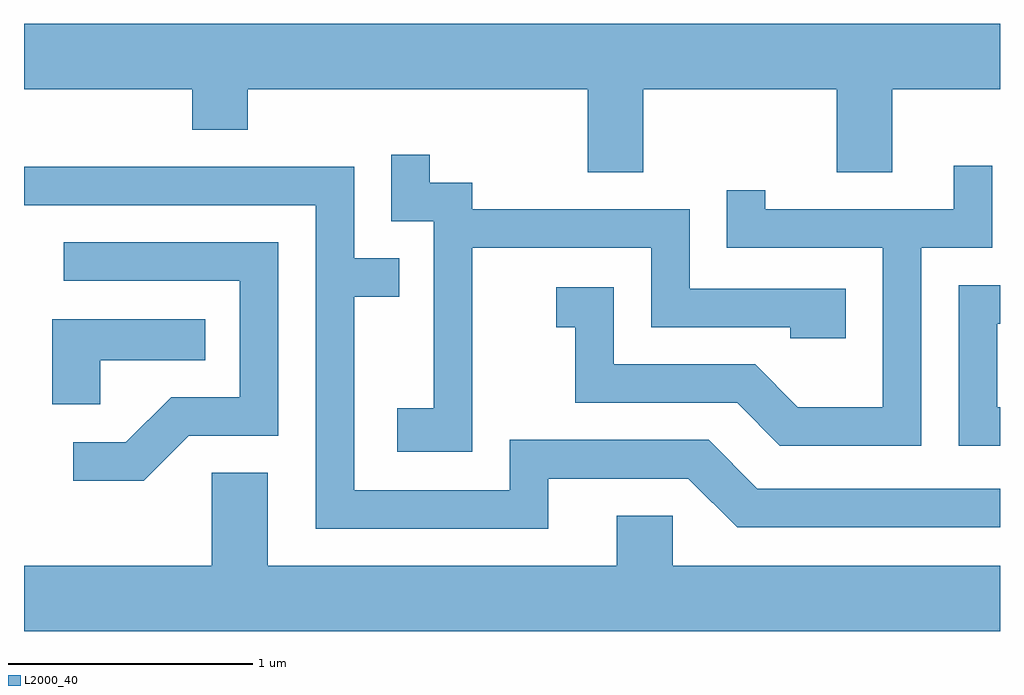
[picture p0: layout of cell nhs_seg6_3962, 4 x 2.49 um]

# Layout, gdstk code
import gdstk
lib = gdstk.Library(unit=1e-6, precision=1e-09)
def P(c, l, *ps):  # polygons
    for p in ps: c.add(gdstk.Polygon(p, *l))
L2000_40 = (2000, 40)

nhs_seg6_3962 = lib.new_cell('nhs_seg6_3962')
P(nhs_seg6_3962, L2000_40, [(306.149,1656.596),(306.941,1656.596),(306.941,1656.256),(307.169,1656.256),(307.169,1656.596),(307.611,1656.596),(307.611,1656.864),(303.611,1656.864),(303.611,1656.596),(304.301,1656.596),(304.301,1656.431),(304.529,1656.431),(304.529,1656.596),(305.921,1656.596),(305.921,1656.256),(306.149,1656.256)],
  [(305.449,1655.946),(306.181,1655.946),(306.181,1655.621),(306.751,1655.621),(306.751,1655.576),(306.979,1655.576),(306.979,1655.779),(306.339,1655.779),(306.339,1656.104),(305.449,1656.104),(305.449,1656.214),(305.274,1656.214),(305.274,1656.328),(305.116,1656.328),(305.116,1656.056),(305.291,1656.056),(305.291,1655.289),(305.141,1655.289),(305.141,1655.111),(305.449,1655.111)],
  [(307.289,1655.946),(307.579,1655.946),(307.579,1656.283),(307.421,1656.283),(307.421,1656.104),(306.649,1656.104),(306.649,1656.183),(306.491,1656.183),(306.491,1655.946),(307.131,1655.946),(307.131,1655.294),(306.782,1655.294),(306.607,1655.469),(306.029,1655.469),(306.029,1655.784),(305.793,1655.784),(305.793,1655.621),(305.871,1655.621),(305.871,1655.311),(306.534,1655.311),(306.709,1655.136),(307.289,1655.136)],
  [(305.759,1655.001),(306.334,1655.001),(306.534,1654.801),(307.611,1654.801),(307.611,1654.959),(306.617,1654.959),(306.417,1655.159),(305.601,1655.159),(305.601,1654.954),(304.964,1654.954),(304.964,1655.746),(305.148,1655.746),(305.148,1655.904),(304.964,1655.904),(304.964,1656.279),(303.611,1656.279),(303.611,1656.121),(304.806,1656.121),(304.806,1654.796),(305.759,1654.796)],
  [(304.287,1655.176),(304.654,1655.176),(304.654,1655.969),(303.773,1655.969),(303.773,1655.811),(304.496,1655.811),(304.496,1655.334),(304.214,1655.334),(304.029,1655.149),(303.813,1655.149),(303.813,1654.991),(304.102,1654.991)],
  [(307.611,1655.294),(307.599,1655.294),(307.599,1655.636),(307.611,1655.636),(307.611,1655.794),(307.441,1655.794),(307.441,1655.136),(307.611,1655.136)],
  [(303.924,1655.486),(304.353,1655.486),(304.353,1655.654),(303.726,1655.654),(303.726,1655.306),(303.924,1655.306)],
  [(307.611,1654.644),(306.269,1654.644),(306.269,1654.849),(306.041,1654.849),(306.041,1654.644),(304.609,1654.644),(304.609,1655.024),(304.381,1655.024),(304.381,1654.644),(303.611,1654.644),(303.611,1654.376),(307.611,1654.376)])

lib.write_gds('nhs_seg6_3962.gds')
